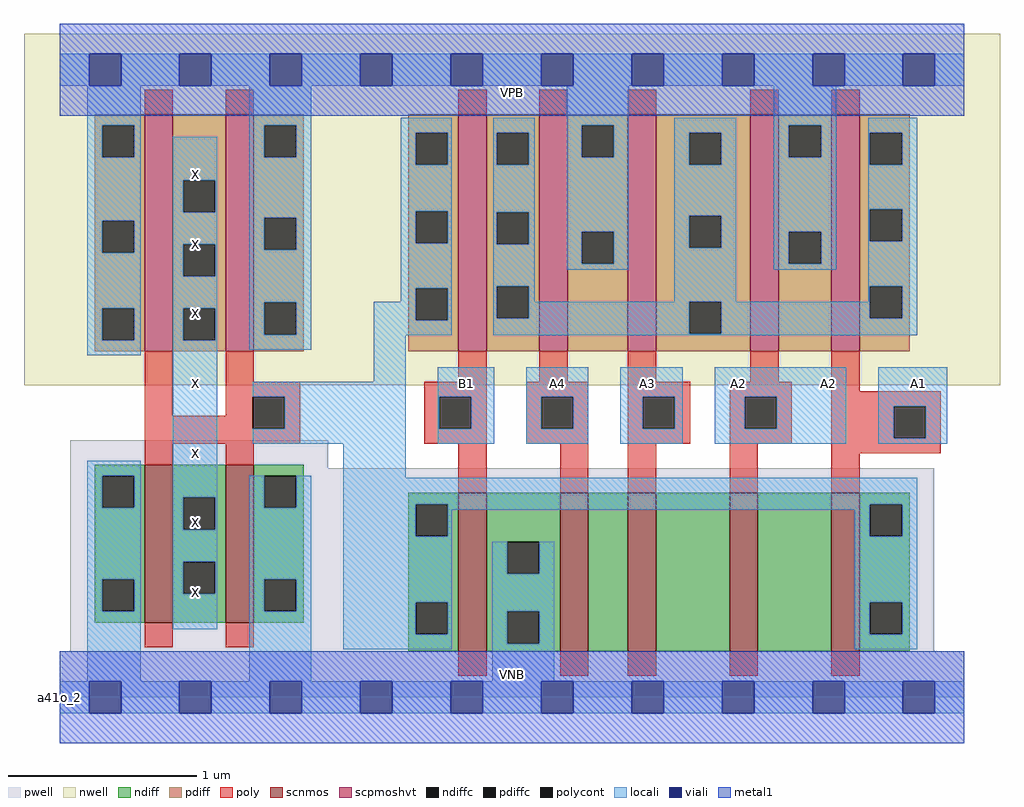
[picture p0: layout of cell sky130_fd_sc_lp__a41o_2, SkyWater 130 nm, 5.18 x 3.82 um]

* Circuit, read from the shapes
.subckt sky130_fd_sc_lp__a41o_2 A1 A2 A3 A4 B1 VGND VNB VPB VPWR X
XM1 X n1 VGND VNB sky130_fd_pr__nfet_01v8 w=0.84 l=0.15 m=2
XM2 VGND B1 n1 VNB sky130_fd_pr__nfet_01v8 w=0.84 l=0.15
XM3 n2 A4 VGND VNB sky130_fd_pr__nfet_01v8 w=0.84 l=0.15
XM4 n3 A3 n2 VNB sky130_fd_pr__nfet_01v8 w=0.84 l=0.15
XM5 n4 A2 n3 VNB sky130_fd_pr__nfet_01v8 w=0.84 l=0.15
XM6 n1 A1 n4 VNB sky130_fd_pr__nfet_01v8 w=0.84 l=0.15
XM7 X n1 VPWR VPB sky130_fd_pr__pfet_01v8_hvt w=1.26 l=0.15 m=2
XM8 n5 B1 n1 VPB sky130_fd_pr__pfet_01v8_hvt w=1.26 l=0.15
XM9 VPWR A4 n5 VPB sky130_fd_pr__pfet_01v8_hvt w=1.26 l=0.15
XM10 n5 A3 VPWR VPB sky130_fd_pr__pfet_01v8_hvt w=1.26 l=0.15
XM11 VPWR A2 n5 VPB sky130_fd_pr__pfet_01v8_hvt w=1.26 l=0.15
XM12 n5 A1 VPWR VPB sky130_fd_pr__pfet_01v8_hvt w=1.26 l=0.15
.ends

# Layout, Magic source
magic
tech sky130A
magscale 1 2
<< nwell >>
rect -38 331 998 704
<< pwell >>
rect 11 243 285 273
rect 11 49 928 243
rect 0 0 960 49
<< scnmos >>
rect 90 79 120 247
rect 176 79 206 247
rect 423 49 453 217
rect 531 49 561 217
rect 603 49 633 217
rect 711 49 741 217
rect 819 49 849 217
<< scpmoshvt >>
rect 90 367 120 619
rect 176 367 206 619
rect 423 367 453 619
rect 509 367 539 619
rect 603 367 633 619
rect 733 367 763 619
rect 819 367 849 619
<< ndiff >>
rect 37 235 90 247
rect 37 201 45 235
rect 79 201 90 235
rect 37 125 90 201
rect 37 91 45 125
rect 79 91 90 125
rect 37 79 90 91
rect 120 212 176 247
rect 120 178 131 212
rect 165 178 176 212
rect 120 144 176 178
rect 120 110 131 144
rect 165 110 176 144
rect 120 79 176 110
rect 206 235 259 247
rect 206 201 217 235
rect 251 201 259 235
rect 206 125 259 201
rect 206 91 217 125
rect 251 91 259 125
rect 206 79 259 91
rect 370 205 423 217
rect 370 171 378 205
rect 412 171 423 205
rect 370 101 423 171
rect 370 67 378 101
rect 412 67 423 101
rect 370 49 423 67
rect 453 165 531 217
rect 453 131 475 165
rect 509 131 531 165
rect 453 91 531 131
rect 453 57 475 91
rect 509 57 531 91
rect 453 49 531 57
rect 561 49 603 217
rect 633 49 711 217
rect 741 49 819 217
rect 849 205 902 217
rect 849 171 860 205
rect 894 171 902 205
rect 849 101 902 171
rect 849 67 860 101
rect 894 67 902 101
rect 849 49 902 67
<< pdiff >>
rect 37 607 90 619
rect 37 573 45 607
rect 79 573 90 607
rect 37 506 90 573
rect 37 472 45 506
rect 79 472 90 506
rect 37 413 90 472
rect 37 379 45 413
rect 79 379 90 413
rect 37 367 90 379
rect 120 549 176 619
rect 120 515 131 549
rect 165 515 176 549
rect 120 481 176 515
rect 120 447 131 481
rect 165 447 176 481
rect 120 413 176 447
rect 120 379 131 413
rect 165 379 176 413
rect 120 367 176 379
rect 206 607 259 619
rect 206 573 217 607
rect 251 573 259 607
rect 206 509 259 573
rect 206 475 217 509
rect 251 475 259 509
rect 206 419 259 475
rect 206 385 217 419
rect 251 385 259 419
rect 206 367 259 385
rect 370 599 423 619
rect 370 565 378 599
rect 412 565 423 599
rect 370 516 423 565
rect 370 482 378 516
rect 412 482 423 516
rect 370 434 423 482
rect 370 400 378 434
rect 412 400 423 434
rect 370 367 423 400
rect 453 599 509 619
rect 453 565 464 599
rect 498 565 509 599
rect 453 515 509 565
rect 453 481 464 515
rect 498 481 509 515
rect 453 436 509 481
rect 453 402 464 436
rect 498 402 509 436
rect 453 367 509 402
rect 539 607 603 619
rect 539 573 554 607
rect 588 573 603 607
rect 539 494 603 573
rect 539 460 554 494
rect 588 460 603 494
rect 539 367 603 460
rect 633 599 733 619
rect 633 565 668 599
rect 702 565 733 599
rect 633 511 733 565
rect 633 477 668 511
rect 702 477 733 511
rect 633 420 733 477
rect 633 386 668 420
rect 702 386 733 420
rect 633 367 733 386
rect 763 607 819 619
rect 763 573 774 607
rect 808 573 819 607
rect 763 494 819 573
rect 763 460 774 494
rect 808 460 819 494
rect 763 367 819 460
rect 849 599 902 619
rect 849 565 860 599
rect 894 565 902 599
rect 849 518 902 565
rect 849 484 860 518
rect 894 484 902 518
rect 849 436 902 484
rect 849 402 860 436
rect 894 402 902 436
rect 849 367 902 402
<< ndiffc >>
rect 45 201 79 235
rect 45 91 79 125
rect 131 178 165 212
rect 131 110 165 144
rect 217 201 251 235
rect 217 91 251 125
rect 378 171 412 205
rect 378 67 412 101
rect 475 131 509 165
rect 475 57 509 91
rect 860 171 894 205
rect 860 67 894 101
<< pdiffc >>
rect 45 573 79 607
rect 45 472 79 506
rect 45 379 79 413
rect 131 515 165 549
rect 131 447 165 481
rect 131 379 165 413
rect 217 573 251 607
rect 217 475 251 509
rect 217 385 251 419
rect 378 565 412 599
rect 378 482 412 516
rect 378 400 412 434
rect 464 565 498 599
rect 464 481 498 515
rect 464 402 498 436
rect 554 573 588 607
rect 554 460 588 494
rect 668 565 702 599
rect 668 477 702 511
rect 668 386 702 420
rect 774 573 808 607
rect 774 460 808 494
rect 860 565 894 599
rect 860 484 894 518
rect 860 402 894 436
<< poly >>
rect 90 619 120 645
rect 176 619 206 645
rect 423 619 453 645
rect 509 619 539 645
rect 603 619 633 645
rect 733 619 763 645
rect 819 619 849 645
rect 90 299 120 367
rect 176 335 206 367
rect 423 335 453 367
rect 509 335 539 367
rect 603 335 633 367
rect 733 335 763 367
rect 176 319 255 335
rect 176 299 205 319
rect 90 285 205 299
rect 239 285 255 319
rect 90 269 255 285
rect 387 319 453 335
rect 387 285 403 319
rect 437 285 453 319
rect 387 269 453 285
rect 495 319 561 335
rect 495 285 511 319
rect 545 285 561 319
rect 495 269 561 285
rect 90 247 120 269
rect 176 247 206 269
rect 423 217 453 269
rect 531 217 561 269
rect 603 319 669 335
rect 603 285 619 319
rect 653 285 669 319
rect 603 269 669 285
rect 711 319 777 335
rect 711 285 727 319
rect 761 285 777 319
rect 711 269 777 285
rect 819 325 849 367
rect 819 309 935 325
rect 819 275 885 309
rect 919 275 935 309
rect 603 217 633 269
rect 711 217 741 269
rect 819 259 935 275
rect 819 217 849 259
rect 90 53 120 79
rect 176 53 206 79
rect 423 23 453 49
rect 531 23 561 49
rect 603 23 633 49
rect 711 23 741 49
rect 819 23 849 49
<< polycont >>
rect 205 285 239 319
rect 403 285 437 319
rect 511 285 545 319
rect 619 285 653 319
rect 727 285 761 319
rect 885 275 919 309
<< locali >>
rect 0 649 31 683
rect 65 649 127 683
rect 161 649 223 683
rect 257 649 319 683
rect 353 649 415 683
rect 449 649 511 683
rect 545 649 607 683
rect 641 649 703 683
rect 737 649 799 683
rect 833 649 895 683
rect 929 649 960 683
rect 29 607 86 649
rect 29 573 45 607
rect 79 573 86 607
rect 201 607 267 649
rect 29 506 86 573
rect 29 472 45 506
rect 79 472 86 506
rect 29 413 86 472
rect 29 379 45 413
rect 79 379 86 413
rect 29 363 86 379
rect 120 549 167 595
rect 120 515 131 549
rect 165 515 167 549
rect 120 481 167 515
rect 120 447 131 481
rect 165 447 167 481
rect 120 413 167 447
rect 120 379 131 413
rect 165 379 167 413
rect 29 235 86 251
rect 29 201 45 235
rect 79 201 86 235
rect 29 125 86 201
rect 29 91 45 125
rect 79 91 86 125
rect 29 17 86 91
rect 120 212 167 379
rect 201 573 217 607
rect 251 573 267 607
rect 201 509 267 573
rect 201 475 217 509
rect 251 475 267 509
rect 201 419 267 475
rect 362 599 416 615
rect 362 565 378 599
rect 412 565 416 599
rect 362 516 416 565
rect 362 482 378 516
rect 412 482 416 516
rect 362 434 416 482
rect 362 420 378 434
rect 201 385 217 419
rect 251 385 267 419
rect 201 369 267 385
rect 333 400 378 420
rect 412 400 416 434
rect 333 384 416 400
rect 460 599 504 615
rect 460 565 464 599
rect 498 565 504 599
rect 460 515 504 565
rect 460 481 464 515
rect 498 481 504 515
rect 460 436 504 481
rect 538 607 604 649
rect 538 573 554 607
rect 588 573 604 607
rect 538 494 604 573
rect 538 460 554 494
rect 588 460 604 494
rect 538 454 604 460
rect 652 599 718 615
rect 652 565 668 599
rect 702 565 718 599
rect 652 511 718 565
rect 652 477 668 511
rect 702 477 718 511
rect 460 402 464 436
rect 498 420 504 436
rect 652 420 718 477
rect 758 607 824 649
rect 758 573 774 607
rect 808 573 824 607
rect 758 494 824 573
rect 758 460 774 494
rect 808 460 824 494
rect 758 454 824 460
rect 858 599 910 615
rect 858 565 860 599
rect 894 565 910 599
rect 858 518 910 565
rect 858 484 860 518
rect 894 484 910 518
rect 858 436 910 484
rect 858 420 860 436
rect 498 402 668 420
rect 460 386 668 402
rect 702 402 860 420
rect 894 402 910 436
rect 702 386 910 402
rect 460 384 910 386
rect 333 335 367 384
rect 205 319 367 335
rect 239 285 367 319
rect 205 269 367 285
rect 401 319 461 350
rect 401 285 403 319
rect 437 285 461 319
rect 401 269 461 285
rect 495 319 561 350
rect 495 285 511 319
rect 545 285 561 319
rect 495 269 561 285
rect 595 319 661 350
rect 595 285 619 319
rect 653 285 661 319
rect 595 269 661 285
rect 695 319 835 350
rect 695 285 727 319
rect 761 285 835 319
rect 695 269 835 285
rect 869 309 942 350
rect 869 275 885 309
rect 919 275 942 309
rect 869 269 942 275
rect 120 178 131 212
rect 165 178 167 212
rect 120 144 167 178
rect 120 110 131 144
rect 165 110 167 144
rect 120 72 167 110
rect 201 201 217 235
rect 251 201 267 235
rect 201 125 267 201
rect 201 91 217 125
rect 251 91 267 125
rect 201 17 267 91
rect 301 233 367 269
rect 301 205 910 233
rect 301 171 378 205
rect 412 199 860 205
rect 412 171 416 199
rect 301 101 416 171
rect 844 171 860 199
rect 894 171 910 205
rect 301 67 378 101
rect 412 67 416 101
rect 301 51 416 67
rect 459 131 475 165
rect 509 131 525 165
rect 459 91 525 131
rect 459 57 475 91
rect 509 57 525 91
rect 459 17 525 57
rect 844 101 910 171
rect 844 67 860 101
rect 894 67 910 101
rect 844 51 910 67
rect 0 -17 31 17
rect 65 -17 127 17
rect 161 -17 223 17
rect 257 -17 319 17
rect 353 -17 415 17
rect 449 -17 511 17
rect 545 -17 607 17
rect 641 -17 703 17
rect 737 -17 799 17
rect 833 -17 895 17
rect 929 -17 960 17
<< viali >>
rect 31 649 65 683
rect 127 649 161 683
rect 223 649 257 683
rect 319 649 353 683
rect 415 649 449 683
rect 511 649 545 683
rect 607 649 641 683
rect 703 649 737 683
rect 799 649 833 683
rect 895 649 929 683
rect 31 -17 65 17
rect 127 -17 161 17
rect 223 -17 257 17
rect 319 -17 353 17
rect 415 -17 449 17
rect 511 -17 545 17
rect 607 -17 641 17
rect 703 -17 737 17
rect 799 -17 833 17
rect 895 -17 929 17
<< metal1 >>
rect 0 683 960 715
rect 0 649 31 683
rect 65 649 127 683
rect 161 649 223 683
rect 257 649 319 683
rect 353 649 415 683
rect 449 649 511 683
rect 545 649 607 683
rect 641 649 703 683
rect 737 649 799 683
rect 833 649 895 683
rect 929 649 960 683
rect 0 617 960 649
rect 0 17 960 49
rect 0 -17 31 17
rect 65 -17 127 17
rect 161 -17 223 17
rect 257 -17 319 17
rect 353 -17 415 17
rect 449 -17 511 17
rect 545 -17 607 17
rect 641 -17 703 17
rect 737 -17 799 17
rect 833 -17 895 17
rect 929 -17 960 17
rect 0 -49 960 -17
<< labels >>
flabel pwell s 0 0 960 49 0 FreeSans 200 0 0 0 VNB
port 7 nsew ground bidirectional
flabel nwell s 0 617 960 666 0 FreeSans 200 0 0 0 VPB
port 8 nsew power bidirectional
rlabel comment s 0 0 0 0 4 a41o_2
flabel metal1 s 0 617 960 666 0 FreeSans 340 0 0 0 VPWR
port 9 nsew power bidirectional
flabel metal1 s 0 0 960 49 0 FreeSans 340 0 0 0 VGND
port 6 nsew ground bidirectional
flabel locali s 127 94 161 128 0 FreeSans 340 0 0 0 X
port 10 nsew signal output
flabel locali s 127 168 161 202 0 FreeSans 340 0 0 0 X
port 10 nsew signal output
flabel locali s 127 242 161 276 0 FreeSans 340 0 0 0 X
port 10 nsew signal output
flabel locali s 127 316 161 350 0 FreeSans 340 0 0 0 X
port 10 nsew signal output
flabel locali s 127 390 161 424 0 FreeSans 340 0 0 0 X
port 10 nsew signal output
flabel locali s 127 464 161 498 0 FreeSans 340 0 0 0 X
port 10 nsew signal output
flabel locali s 127 538 161 572 0 FreeSans 340 0 0 0 X
port 10 nsew signal output
flabel locali s 895 316 929 350 0 FreeSans 340 0 0 0 A1
port 1 nsew signal input
flabel locali s 703 316 737 350 0 FreeSans 340 0 0 0 A2
port 2 nsew signal input
flabel locali s 799 316 833 350 0 FreeSans 340 0 0 0 A2
port 2 nsew signal input
flabel locali s 607 316 641 350 0 FreeSans 340 0 0 0 A3
port 3 nsew signal input
flabel locali s 511 316 545 350 0 FreeSans 340 0 0 0 A4
port 4 nsew signal input
flabel locali s 415 316 449 350 0 FreeSans 340 0 0 0 B1
port 5 nsew signal input
<< properties >>
string LEFsite unit
string LEFclass CORE
string FIXED_BBOX 0 0 960 666
string GDS_FILE $PDKPATH/libs.ref/sky130_fd_sc_lp/gds/sky130_fd_sc_lp.gds
string LEFsymmetry X Y R90
string GDS_END 5486522
string GDS_START 5477640
<< end >>
